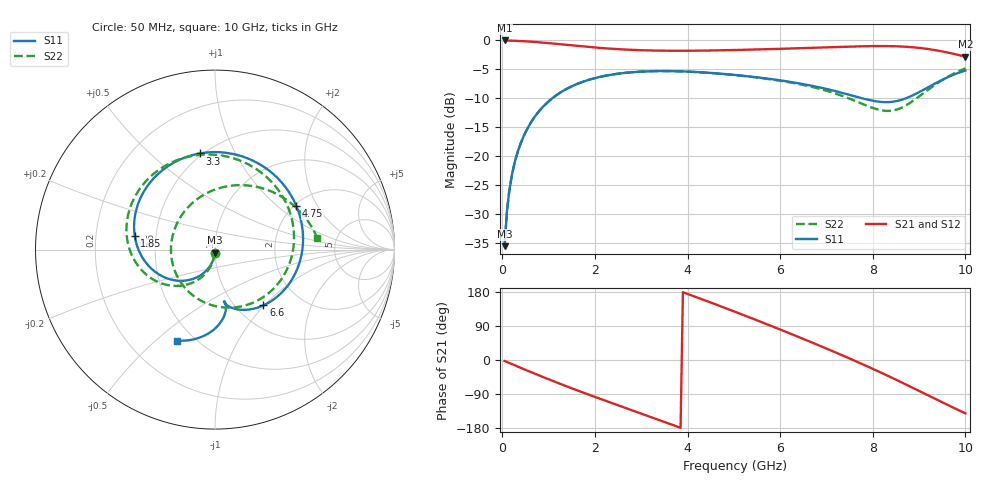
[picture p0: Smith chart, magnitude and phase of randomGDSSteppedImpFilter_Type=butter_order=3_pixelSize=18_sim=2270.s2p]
! freq	dB(S11)	phase(S11)	dB(S12)	phase(S12)
!  dB(S21)	phase(S21)	dB(S22)	phase(S22)
!S-par simulation data
#  GHz  S  DB  R 50
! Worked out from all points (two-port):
!   200 points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, 50 MHz to 10 GHz, reference 50 ohm
!   highest |S21| = 0.00 dB at 50 MHz (marker M1); lowest = -2.8 dB at 10 GHz (marker M2)
!   |S21| within 3 dB of the highest: start of sweep to end of sweep
!   lowest |S11| = -35.6 dB at 50 MHz (marker M3), VSWR 1.03, Z = 49.9 - j1.65 ohm
!   |S11| at or under -10 dB: start of sweep to 1.082 GHz; 7.764 GHz to 8.721 GHz (957 MHz wide, 11.6 % of centre)
!   |S22| runs from -35.6 to -4.8 dB; largest |S21 - S12| = 0
!   S11 on the Smith chart (normalised r, x): 50 MHz: 1.00, -0.03; 1.85 GHz: 0.38, +0.07; 3.3 GHz: 0.48, +0.73; 4.75 GHz: 2.06, +1.36; 6.6 GHz: 1.32, -0.99; 10 GHz: 0.41, -0.59
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0.05  -35.60 -92.8  -0.00 -2.6  -0.00 -2.6  -35.60 -92.4
0.1  -29.60 -95.8  -0.01 -5.3  -0.01 -5.3  -29.59 -94.9
0.2  -23.62 -101.7  -0.04 -10.5  -0.04 -10.5  -23.62 -99.9
0.5  -15.91 -118.6  -0.15 -25.9  -0.15 -25.9  -15.90 -114.3
1.1  -9.89 -151.1  -0.54 -55.7  -0.54 -55.7  -9.88 -141.5
1.75  -7.13 175.3  -1.05 -86.1  -1.05 -86.1  -7.12 -168.9
1.85  -6.86 170.3  -1.12 -90.7  -1.12 -90.7  -6.85 -172.9
2.5  -5.76 138.1  -1.51 -119.5  -1.51 -119.5  -5.75 161.6
3.3  -5.31 98.8  -1.75 -154.5  -1.75 -154.5  -5.31 131.1
3.4  -5.30 93.9  -1.77 -158.9  -1.77 -158.9  -5.30 127.3
4.1  -5.43 59.5  -1.78 169.9  -1.78 169.9  -5.43 99.8
4.75  -5.78 28.1  -1.70 140.1  -1.70 140.1  -5.79 72.3
5.05  -5.99 14.1  -1.65 126.1  -1.65 126.1  -6.02 58.7
5.85  -6.74 -20.8  -1.49 87.8  -1.49 87.8  -6.80 18.7
6.6  -7.71 -49.0  -1.30 50.7  -1.30 50.7  -7.88 -25.2
6.7  -7.87 -52.4  -1.28 45.6  -1.28 45.6  -8.07 -31.6
7.55  -9.54 -74.8  -1.06 1.4  -1.06 1.4  -10.24 -95.4
8.35  -10.67 -79.9  -0.99 -43.1  -0.99 -43.1  -12.19 175.9
8.8  -9.74 -79.2  -1.14 -69.6  -1.14 -69.6  -10.83 116.8
9.2  -8.08 -84.2  -1.49 -93.6  -1.49 -93.6  -8.50 72.5
9.55  -6.62 -94.2  -1.98 -114.6  -1.98 -114.6  -6.62 40.8
10  -5.21 -112.4  -2.81 -140.8  -2.81 -140.8  -4.84 6.7
